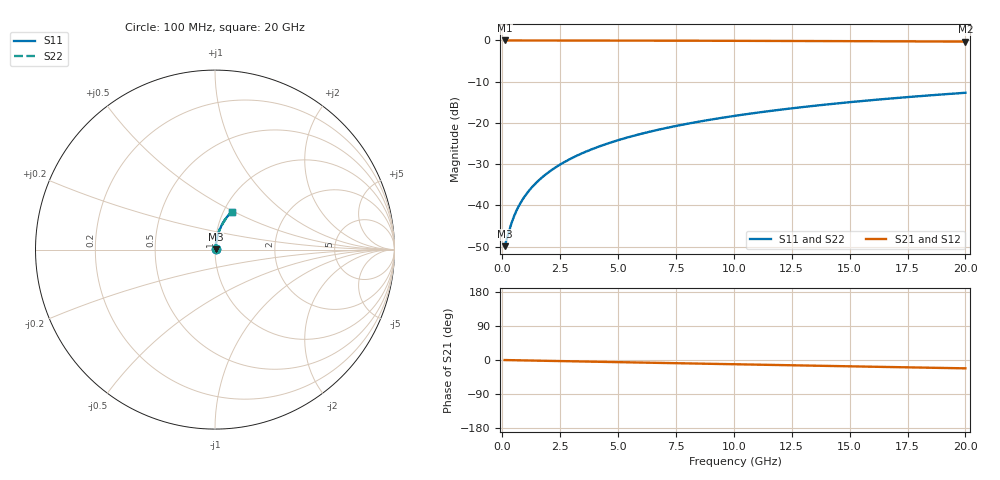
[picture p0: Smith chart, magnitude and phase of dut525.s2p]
! Touchstone file exported from HFSS 2026.1.0
!  File:  C:/ffzhzh/LocalFiles/Ansys_Project_Files/temp_train_BSMRDL_525_1783014634_55676.aedt
!  Generated:  01:52:00 AM Jul  3, 2026
!  Design:  BSMRDL
!  Project:  temp_train_BSMRDL_525_1783014634_55676
! Variables:
!  h_bsmrdl = 2.28um
!  h_ox = 20um
!  h_rdl = 5um
!  h_sub = 80um
!  h_tmrdl = 5um
!  h_tsv = 80um
!  h_via = 3um
!  l_bsmrdl = 281.9um
!  l_sub = 681.9um
!  l_tmrdl = 200um
!  m_sub = 200um
!  pitch = 38.71um
!  r_tsv = 6um
!  s_tmrdl = 10um
!  w_bsmrdl = 16.8um
!  w_sub = 500um
!  w_tmrdl = 12um
!  x_tsv_center1 = 206um
!  x_tsv_center2 = 504.7um
!  x_tsv_center3 = 716.7um
!  x_tsv_center4 = 1015.4um
!  x_tsv_center5 = 1227.4um
!  x_tsv_center6 = 1526.1um
# GHz S MA R 50.000000
! Terminal data exported
! Port[1] = BSM_RDL1_1_T1
! Port[2] = BSM_RDL1_1_T2
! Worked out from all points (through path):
!   200 points, 100 MHz to 20 GHz, reference 50 ohm
!   highest |S21| = -0.03 dB at 100 MHz (marker M1); lowest = -0.3 dB at 20 GHz (marker M2)
!   group delay of S21, straight-line fit = 3.06 ps
!   lowest |S11| = -49.9 dB at 100 MHz (marker M3), VSWR 1.01, Z = 50.3 + j0.135 ohm
!   |S11| at or under -10 dB: start of sweep to end of sweep
!   |S22| runs from -49.9 to -12.7 dB; largest |S21 - S12| = 1.8e-15
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0.1  0.003197 24.7  0.9971 -0.1  0.9971 -0.1  0.003197 24.7
! Gamma 0 0 0 0
! Port Impedance 50 0 50 0
0.3  0.004995 52.7  0.997 -0.4  0.997 -0.4  0.004995 52.7
0.4  0.006116 59.4  0.9969 -0.5  0.9969 -0.5  0.006116 59.4
0.5  0.007279 63.8  0.9968 -0.6  0.9968 -0.6  0.007279 63.8
0.6  0.008459 67.0  0.9968 -0.7  0.9968 -0.7  0.008459 67.0
0.7  0.009645 69.3  0.9967 -0.8  0.9967 -0.8  0.009645 69.3
0.9  0.01202 72.5  0.9965 -1.0  0.9965 -1.0  0.01202 72.5
1.2  0.0156 75.6  0.9964 -1.4  0.9964 -1.4  0.0156 75.6
1.4  0.01799 76.9  0.9963 -1.6  0.9963 -1.6  0.01799 76.9
1.7  0.02159 78.3  0.9961 -1.9  0.9961 -1.9  0.02159 78.3
2.2  0.02763 79.7  0.9959 -2.5  0.9959 -2.5  0.02763 79.7
2.8  0.0349 80.5  0.9956 -3.2  0.9956 -3.2  0.0349 80.5
3.5  0.0434 80.8  0.9952 -4.0  0.9952 -4.0  0.0434 80.8
4.2  0.05189 80.8  0.9946 -4.8  0.9946 -4.8  0.05189 80.8
5  0.06159 80.5  0.994 -5.7  0.994 -5.7  0.06159 80.5
5.9  0.07245 79.9  0.9931 -6.7  0.9931 -6.7  0.07245 79.9
6.8  0.08326 79.2  0.992 -7.7  0.992 -7.7  0.08326 79.2
8.3  0.1011 77.9  0.9901 -9.4  0.9901 -9.4  0.1011 77.9
10.1  0.1223 76.2  0.9873 -11.4  0.9873 -11.4  0.1223 76.2
13.4  0.1601 72.9  0.9811 -15.0  0.9811 -15.0  0.1601 72.9
16.7  0.1966 69.5  0.9737 -18.5  0.9737 -18.5  0.1966 69.5
20  0.2315 66.1  0.9653 -22.0  0.9653 -22.0  0.2315 66.1
